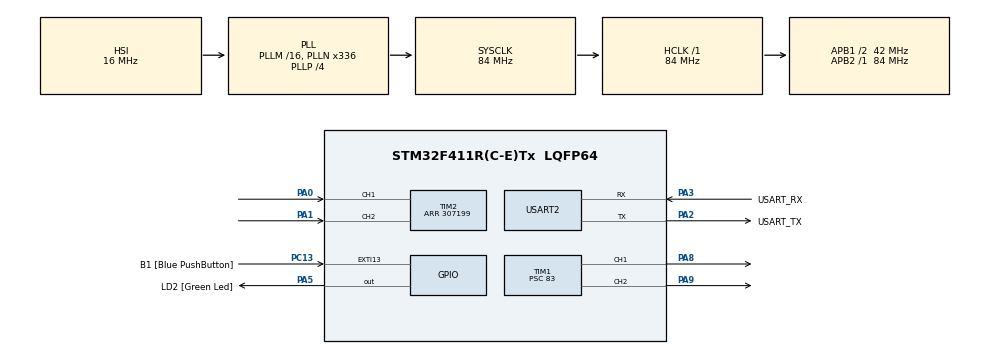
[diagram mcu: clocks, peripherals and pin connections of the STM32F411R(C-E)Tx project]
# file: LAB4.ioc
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Mcu.Family=STM32F4
Mcu.Name=STM32F411R(C-E)Tx
Mcu.Package=LQFP64
NVIC.PriorityGroup=NVIC_PRIORITYGROUP_0
PA0-WKUP.Signal=S_TIM2_CH1_ETR
PA1.Signal=S_TIM2_CH2
PA13.GPIO_Label=TMS
PA13.Mode=Serial_Wire
PA13.Signal=SYS_JTMS-SWDIO
PA14.GPIO_Label=TCK
PA14.Mode=Serial_Wire
PA14.Signal=SYS_JTCK-SWCLK
PA2.GPIO_Label=USART_TX
PA2.Mode=Asynchronous
PA2.Signal=USART2_TX
PA3.GPIO_Label=USART_RX
PA3.Mode=Asynchronous
PA3.Signal=USART2_RX
PA5.GPIO_Label=LD2 [Green Led]
PA5.Signal=GPIO_Output
PA8.Signal=S_TIM1_CH1
PA9.Signal=S_TIM1_CH2
PB3.GPIO_Label=SWO
PB3.Signal=SYS_JTDO-SWO
PC13-ANTI_TAMP.GPIO_Label=B1 [Blue PushButton]
PC13-ANTI_TAMP.GPIO_ModeDefaultEXTI=GPIO_MODE_IT_FALLING
PC13-ANTI_TAMP.Signal=GPXTI13
PC14-OSC32_IN.Mode=LSE-External-Oscillator
PC14-OSC32_IN.Signal=RCC_OSC32_IN
PC15-OSC32_OUT.Mode=LSE-External-Oscillator
PC15-OSC32_OUT.Signal=RCC_OSC32_OUT
PH0\ -\ OSC_IN.Mode=HSE-External-Clock-Source
PH0\ -\ OSC_IN.Signal=RCC_OSC_IN
PH1\ -\ OSC_OUT.Mode=HSE-External-Clock-Source
PH1\ -\ OSC_OUT.Signal=RCC_OSC_OUT
ProjectManager.HeapSize=0x200
ProjectManager.StackSize=0x400
ProjectManager.TargetToolchain=STM32CubeIDE
RCC.48MHZClocksFreq_Value=84000000
RCC.AHBFreq_Value=84000000
RCC.APB1CLKDivider=RCC_HCLK_DIV2
RCC.APB1Freq_Value=42000000
RCC.APB1TimFreq_Value=84000000
RCC.APB2Freq_Value=84000000
RCC.APB2TimFreq_Value=84000000
RCC.CortexFreq_Value=84000000
RCC.FLatency-AdvancedSettings=FLASH_LATENCY_2
RCC.HCLKFreq_Value=84000000
RCC.HSE_VALUE=8000000
RCC.HSI_VALUE=16000000
RCC.PLLN=336
RCC.PLLP=RCC_PLLP_DIV4
RCC.SYSCLKFreq_VALUE=84000000
RCC.SYSCLKSource=RCC_SYSCLKSOURCE_PLLCLK
RCC.VCOOutputFreq_Value=336000000
SH.S_TIM1_CH1.0=TIM1_CH1,PWM Generation1 CH1
SH.S_TIM1_CH2.0=TIM1_CH2,PWM Generation2 CH2
SH.S_TIM2_CH1_ETR.0=TIM2_CH1,Encoder_Interface
SH.S_TIM2_CH2.0=TIM2_CH2,Encoder_Interface
TIM1.Channel-PWM\ Generation1\ CH1=TIM_CHANNEL_1
TIM1.Channel-PWM\ Generation2\ CH2=TIM_CHANNEL_2
TIM1.Period=999
TIM1.Prescaler=83
TIM2.EncoderMode=TIM_ENCODERMODE_TI12
TIM2.Period=307199
USART2.VirtualMode=VM_ASYNC
VP_TIM1_VS_ClockSourceINT.Mode=Internal
board=NUCLEO-F411RE

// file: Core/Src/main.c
/* USER CODE BEGIN Header */
/**
  ******************************************************************************
  * @file           : main.c
  * @brief          : Main program body
  ******************************************************************************
  * @attention
  *
  * Copyright (c) 2023 STMicroelectronics.
  * All rights reserved.
  *
  * This software is licensed under terms that can be found in the LICENSE file
  * in the root directory of this software component.
  * If no LICENSE file comes with this software, it is provided AS-IS.
  *
  ******************************************************************************
  */
/* USER CODE END Header */
#include "main.h"

TIM_HandleTypeDef htim1;
TIM_HandleTypeDef htim2;

UART_HandleTypeDef huart2;

/* USER CODE BEGIN PV */
float Kp = 0.1;
float Ki = 0;
float Kd =0;

float e = 0;
float s = 0;
float p = 0;
float u = 0;

float setpoint = 200;
float t = 0;

float QEIRawData = 0;

float Position = 0;
/* USER CODE END PV */

void SystemClock_Config(void);
static void MX_GPIO_Init(void);
static void MX_USART2_UART_Init(void);
static void MX_TIM2_Init(void);
static void MX_TIM1_Init(void);
/* USER CODE BEGIN PFP */
void PIDCalculate();
void MotorDrive();
/* USER CODE END PFP */

int main(void)
{

  /* MCU Configuration--------------------------------------------------------*/

  /* Reset of all peripherals, Initializes the Flash interface and the Systick. */
  HAL_Init();

  /* Configure the system clock */
  SystemClock_Config();

  /* Initialize all configured peripherals */
  MX_GPIO_Init();
  MX_USART2_UART_Init();
  MX_TIM2_Init();
  MX_TIM1_Init();
  /* USER CODE BEGIN 2 */
HAL_TIM_Encoder_Start(&htim2, TIM_CHANNEL_1|TIM_CHANNEL_2);
HAL_TIM_Base_Start(&htim1);
HAL_TIM_PWM_Start(&htim1, TIM_CHANNEL_1|TIM_CHANNEL_2);
  /* USER CODE END 2 */

  /* Infinite loop */
  while (1)
  {

    /* USER CODE BEGIN 3 */
	  QEIRawData = __HAL_TIM_GET_COUNTER(&htim2);
	  Position = (QEIRawData * 360)/3072;
	  static uint32_t timestamp = 0;
	  PIDCalculate();
	  if(HAL_GetTick() >= timestamp)
	  {
		  MotorDrive();
		  timestamp = HAL_GetTick()+5;
	  }
  }
  /* USER CODE END 3 */
}

void SystemClock_Config(void)
{
  RCC_OscInitTypeDef RCC_OscInitStruct = {0};
  RCC_ClkInitTypeDef RCC_ClkInitStruct = {0};

  /** Configure the main internal regulator output voltage
  */
  __HAL_RCC_PWR_CLK_ENABLE();
  __HAL_PWR_VOLTAGESCALING_CONFIG(PWR_REGULATOR_VOLTAGE_SCALE1);

  /** Initializes the RCC Oscillators according to the specified parameters
  * in the RCC_OscInitTypeDef structure.
  */
  RCC_OscInitStruct.OscillatorType = RCC_OSCILLATORTYPE_HSI;
  RCC_OscInitStruct.HSIState = RCC_HSI_ON;
  RCC_OscInitStruct.HSICalibrationValue = RCC_HSICALIBRATION_DEFAULT;
  RCC_OscInitStruct.PLL.PLLState = RCC_PLL_ON;
  RCC_OscInitStruct.PLL.PLLSource = RCC_PLLSOURCE_HSI;
  RCC_OscInitStruct.PLL.PLLM = 16;
  RCC_OscInitStruct.PLL.PLLN = 336;
  RCC_OscInitStruct.PLL.PLLP = RCC_PLLP_DIV4;
  RCC_OscInitStruct.PLL.PLLQ = 4;
  if (HAL_RCC_OscConfig(&RCC_OscInitStruct) != HAL_OK)
  {
    Error_Handler();
  }

  /** Initializes the CPU, AHB and APB buses clocks
  */
  RCC_ClkInitStruct.ClockType = RCC_CLOCKTYPE_HCLK|RCC_CLOCKTYPE_SYSCLK
                              |RCC_CLOCKTYPE_PCLK1|RCC_CLOCKTYPE_PCLK2;
  RCC_ClkInitStruct.SYSCLKSource = RCC_SYSCLKSOURCE_PLLCLK;
  RCC_ClkInitStruct.AHBCLKDivider = RCC_SYSCLK_DIV1;
  RCC_ClkInitStruct.APB1CLKDivider = RCC_HCLK_DIV2;
  RCC_ClkInitStruct.APB2CLKDivider = RCC_HCLK_DIV1;

  if (HAL_RCC_ClockConfig(&RCC_ClkInitStruct, FLASH_LATENCY_2) != HAL_OK)
  {
    Error_Handler();
  }
}

static void MX_TIM1_Init(void)
{

  TIM_ClockConfigTypeDef sClockSourceConfig = {0};
  TIM_MasterConfigTypeDef sMasterConfig = {0};
  TIM_OC_InitTypeDef sConfigOC = {0};
  TIM_BreakDeadTimeConfigTypeDef sBreakDeadTimeConfig = {0};

  htim1.Instance = TIM1;
  htim1.Init.Prescaler = 83;
  htim1.Init.CounterMode = TIM_COUNTERMODE_UP;
  htim1.Init.Period = 999;
  htim1.Init.ClockDivision = TIM_CLOCKDIVISION_DIV1;
  htim1.Init.RepetitionCounter = 0;
  htim1.Init.AutoReloadPreload = TIM_AUTORELOAD_PRELOAD_DISABLE;
  if (HAL_TIM_Base_Init(&htim1) != HAL_OK)
  {
    Error_Handler();
  }
  sClockSourceConfig.ClockSource = TIM_CLOCKSOURCE_INTERNAL;
  if (HAL_TIM_ConfigClockSource(&htim1, &sClockSourceConfig) != HAL_OK)
  {
    Error_Handler();
  }
  if (HAL_TIM_PWM_Init(&htim1) != HAL_OK)
  {
    Error_Handler();
  }
  sMasterConfig.MasterOutputTrigger = TIM_TRGO_RESET;
  sMasterConfig.MasterSlaveMode = TIM_MASTERSLAVEMODE_DISABLE;
  if (HAL_TIMEx_MasterConfigSynchronization(&htim1, &sMasterConfig) != HAL_OK)
  {
    Error_Handler();
  }
  sConfigOC.OCMode = TIM_OCMODE_PWM1;
  sConfigOC.Pulse = 0;
  sConfigOC.OCPolarity = TIM_OCPOLARITY_HIGH;
  sConfigOC.OCNPolarity = TIM_OCNPOLARITY_HIGH;
  sConfigOC.OCFastMode = TIM_OCFAST_DISABLE;
  sConfigOC.OCIdleState = TIM_OCIDLESTATE_RESET;
  sConfigOC.OCNIdleState = TIM_OCNIDLESTATE_RESET;
  if (HAL_TIM_PWM_ConfigChannel(&htim1, &sConfigOC, TIM_CHANNEL_1) != HAL_OK)
  {
    Error_Handler();
  }
  if (HAL_TIM_PWM_ConfigChannel(&htim1, &sConfigOC, TIM_CHANNEL_2) != HAL_OK)
  {
    Error_Handler();
  }
  sBreakDeadTimeConfig.OffStateRunMode = TIM_OSSR_DISABLE;
  sBreakDeadTimeConfig.OffStateIDLEMode = TIM_OSSI_DISABLE;
  sBreakDeadTimeConfig.LockLevel = TIM_LOCKLEVEL_OFF;
  sBreakDeadTimeConfig.DeadTime = 0;
  sBreakDeadTimeConfig.BreakState = TIM_BREAK_DISABLE;
  sBreakDeadTimeConfig.BreakPolarity = TIM_BREAKPOLARITY_HIGH;
  sBreakDeadTimeConfig.AutomaticOutput = TIM_AUTOMATICOUTPUT_DISABLE;
  if (HAL_TIMEx_ConfigBreakDeadTime(&htim1, &sBreakDeadTimeConfig) != HAL_OK)
  {
    Error_Handler();
  }
  HAL_TIM_MspPostInit(&htim1);

}

static void MX_TIM2_Init(void)
{

  TIM_Encoder_InitTypeDef sConfig = {0};
  TIM_MasterConfigTypeDef sMasterConfig = {0};

  htim2.Instance = TIM2;
  htim2.Init.Prescaler = 0;
  htim2.Init.CounterMode = TIM_COUNTERMODE_UP;
  htim2.Init.Period = 307199;
  htim2.Init.ClockDivision = TIM_CLOCKDIVISION_DIV1;
  htim2.Init.AutoReloadPreload = TIM_AUTORELOAD_PRELOAD_DISABLE;
  sConfig.EncoderMode = TIM_ENCODERMODE_TI12;
  sConfig.IC1Polarity = TIM_ICPOLARITY_RISING;
  sConfig.IC1Selection = TIM_ICSELECTION_DIRECTTI;
  sConfig.IC1Prescaler = TIM_ICPSC_DIV1;
  sConfig.IC1Filter = 0;
  sConfig.IC2Polarity = TIM_ICPOLARITY_RISING;
  sConfig.IC2Selection = TIM_ICSELECTION_DIRECTTI;
  sConfig.IC2Prescaler = TIM_ICPSC_DIV1;
  sConfig.IC2Filter = 0;
  if (HAL_TIM_Encoder_Init(&htim2, &sConfig) != HAL_OK)
  {
    Error_Handler();
  }
  sMasterConfig.MasterOutputTrigger = TIM_TRGO_RESET;
  sMasterConfig.MasterSlaveMode = TIM_MASTERSLAVEMODE_DISABLE;
  if (HAL_TIMEx_MasterConfigSynchronization(&htim2, &sMasterConfig) != HAL_OK)
  {
    Error_Handler();
  }

}

static void MX_USART2_UART_Init(void)
{

  huart2.Instance = USART2;
  huart2.Init.BaudRate = 115200;
  huart2.Init.WordLength = UART_WORDLENGTH_8B;
  huart2.Init.StopBits = UART_STOPBITS_1;
  huart2.Init.Parity = UART_PARITY_NONE;
  huart2.Init.Mode = UART_MODE_TX_RX;
  huart2.Init.HwFlowCtl = UART_HWCONTROL_NONE;
  huart2.Init.OverSampling = UART_OVERSAMPLING_16;
  if (HAL_UART_Init(&huart2) != HAL_OK)
  {
    Error_Handler();
  }

}

static void MX_GPIO_Init(void)
{
  GPIO_InitTypeDef GPIO_InitStruct = {0};

  /* GPIO Ports Clock Enable */
  __HAL_RCC_GPIOC_CLK_ENABLE();
  __HAL_RCC_GPIOH_CLK_ENABLE();
  __HAL_RCC_GPIOA_CLK_ENABLE();
  __HAL_RCC_GPIOB_CLK_ENABLE();

  /*Configure GPIO pin Output Level */
  HAL_GPIO_WritePin(LD2_GPIO_Port, LD2_Pin, GPIO_PIN_RESET);

  /*Configure GPIO pin : B1_Pin */
  GPIO_InitStruct.Pin = B1_Pin;
  GPIO_InitStruct.Mode = GPIO_MODE_IT_FALLING;
  GPIO_InitStruct.Pull = GPIO_NOPULL;
  HAL_GPIO_Init(B1_GPIO_Port, &GPIO_InitStruct);

  /*Configure GPIO pin : LD2_Pin */
  GPIO_InitStruct.Pin = LD2_Pin;
  GPIO_InitStruct.Mode = GPIO_MODE_OUTPUT_PP;
  GPIO_InitStruct.Pull = GPIO_NOPULL;
  GPIO_InitStruct.Speed = GPIO_SPEED_FREQ_LOW;
  HAL_GPIO_Init(LD2_GPIO_Port, &GPIO_InitStruct);

}

/* USER CODE BEGIN 4 */
void PIDCalculate(){
	e = setpoint - Position;
	s = s+e;
	u = (Kp*e)+((Ki*s)*t)+((Kd*(e-p))/t);
	p = e;
}
void MotorDrive(){
	if(e > 1){
		__HAL_TIM_SET_COMPARE(&htim1, TIM_CHANNEL_1,0);
		__HAL_TIM_SET_COMPARE(&htim1, TIM_CHANNEL_2,u);
	}
	else if(e < -1){
		if(u < 0){
			__HAL_TIM_SET_COMPARE(&htim1, TIM_CHANNEL_1,u*-1);
			__HAL_TIM_SET_COMPARE(&htim1, TIM_CHANNEL_2,0);
	}
		else if(u > 0){
			__HAL_TIM_SET_COMPARE(&htim1, TIM_CHANNEL_1,u);
			__HAL_TIM_SET_COMPARE(&htim1, TIM_CHANNEL_2,0);
		}
	}
	else{
		__HAL_TIM_SET_COMPARE(&htim1, TIM_CHANNEL_1,0);
		__HAL_TIM_SET_COMPARE(&htim1, TIM_CHANNEL_2,0);
	}
}
/* USER CODE END 4 */

void Error_Handler(void)
{
  __disable_irq();
  while (1)
  {
  }
}
